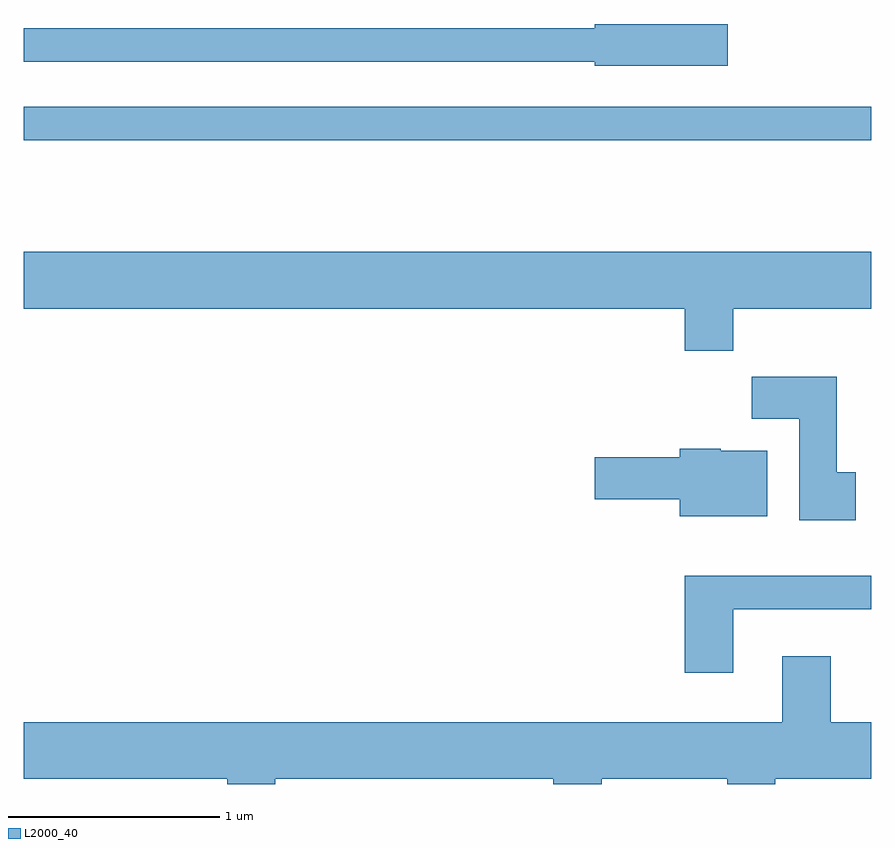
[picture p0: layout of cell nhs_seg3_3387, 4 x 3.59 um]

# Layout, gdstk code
import gdstk
lib = gdstk.Library(unit=1e-6, precision=1e-09)
def R(c, l, rs):  # rectangles x0, y0, x1, y1
    for r in rs: c.add(gdstk.rectangle(r[:2], r[2:], *l))
def P(c, l, *ps):  # polygons
    for p in ps: c.add(gdstk.Polygon(p, *l))
L2000_40 = (2000, 40)

nhs_seg3_3387 = lib.new_cell('nhs_seg3_3387')
R(nhs_seg3_3387, L2000_40, [(283.611,1228.931,287.611,1229.089)])
P(nhs_seg3_3387, L2000_40, [(286.934,1229.479),(286.306,1229.479),(286.306,1229.459),(283.611,1229.459),(283.611,1229.301),(286.306,1229.301),(286.306,1229.281),(286.934,1229.281)],
  [(286.959,1228.136),(287.611,1228.136),(287.611,1228.404),(283.611,1228.404),(283.611,1228.136),(286.731,1228.136),(286.731,1227.936),(286.959,1227.936)],
  [(287.539,1227.364),(287.449,1227.364),(287.449,1227.814),(287.046,1227.814),(287.046,1227.616),(287.271,1227.616),(287.271,1227.136),(287.539,1227.136)],
  [(287.119,1227.464),(286.9,1227.464),(286.9,1227.474),(286.706,1227.474),(286.706,1227.434),(286.306,1227.434),(286.306,1227.236),(286.706,1227.236),(286.706,1227.156),(287.119,1227.156)],
  [(286.959,1226.716),(287.611,1226.716),(287.611,1226.874),(286.731,1226.874),(286.731,1226.416),(286.959,1226.416)],
  [(284.799,1225.916),(286.111,1225.916),(286.111,1225.892),(286.339,1225.892),(286.339,1225.916),(286.931,1225.916),(286.931,1225.892),(287.159,1225.892),(287.159,1225.916),(287.611,1225.916),(287.611,1226.184),(287.419,1226.184),(287.419,1226.494),(287.191,1226.494),(287.191,1226.184),(283.611,1226.184),(283.611,1225.916),(284.571,1225.916),(284.571,1225.892),(284.799,1225.892)])

lib.write_gds('nhs_seg3_3387.gds')
